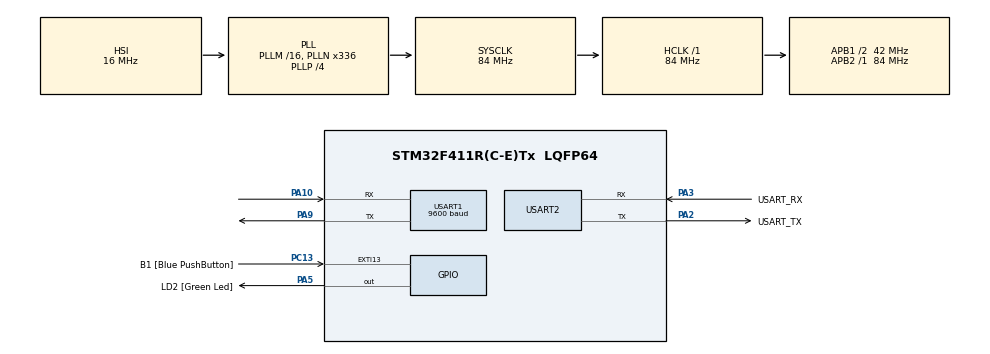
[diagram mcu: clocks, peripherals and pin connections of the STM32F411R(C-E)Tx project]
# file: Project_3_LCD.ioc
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Mcu.Family=STM32F4
Mcu.Name=STM32F411R(C-E)Tx
Mcu.Package=LQFP64
NVIC.EXTI15_10_IRQn=true\:0\:0\:false\:false\:true\:true\:true
NVIC.PriorityGroup=NVIC_PRIORITYGROUP_0
PA10.Mode=Asynchronous
PA10.Signal=USART1_RX
PA13.GPIO_Label=TMS
PA13.Mode=Serial_Wire
PA13.Signal=SYS_JTMS-SWDIO
PA14.GPIO_Label=TCK
PA14.Mode=Serial_Wire
PA14.Signal=SYS_JTCK-SWCLK
PA2.GPIO_Label=USART_TX
PA2.Mode=Asynchronous
PA2.Signal=USART2_TX
PA3.GPIO_Label=USART_RX
PA3.Mode=Asynchronous
PA3.Signal=USART2_RX
PA5.GPIO_Label=LD2 [Green Led]
PA5.Signal=GPIO_Output
PA9.Mode=Asynchronous
PA9.Signal=USART1_TX
PB3.GPIO_Label=SWO
PB3.Signal=SYS_JTDO-SWO
PC13-ANTI_TAMP.GPIO_Label=B1 [Blue PushButton]
PC13-ANTI_TAMP.GPIO_ModeDefaultEXTI=GPIO_MODE_IT_FALLING
PC13-ANTI_TAMP.Signal=GPXTI13
PC14-OSC32_IN.Mode=LSE-External-Oscillator
PC14-OSC32_IN.Signal=RCC_OSC32_IN
PC15-OSC32_OUT.Mode=LSE-External-Oscillator
PC15-OSC32_OUT.Signal=RCC_OSC32_OUT
PH0\ -\ OSC_IN.Mode=HSE-External-Clock-Source
PH0\ -\ OSC_IN.Signal=RCC_OSC_IN
PH1\ -\ OSC_OUT.Mode=HSE-External-Clock-Source
PH1\ -\ OSC_OUT.Signal=RCC_OSC_OUT
ProjectManager.HeapSize=0x200
ProjectManager.StackSize=0x400
ProjectManager.TargetToolchain=STM32CubeIDE
RCC.48MHZClocksFreq_Value=84000000
RCC.AHBFreq_Value=84000000
RCC.APB1CLKDivider=RCC_HCLK_DIV2
RCC.APB1Freq_Value=42000000
RCC.APB1TimFreq_Value=84000000
RCC.APB2Freq_Value=84000000
RCC.APB2TimFreq_Value=84000000
RCC.CortexFreq_Value=84000000
RCC.FLatency-AdvancedSettings=FLASH_LATENCY_2
RCC.HCLKFreq_Value=84000000
RCC.HSE_VALUE=8000000
RCC.HSI_VALUE=16000000
RCC.PLLN=336
RCC.PLLP=RCC_PLLP_DIV4
RCC.SYSCLKFreq_VALUE=84000000
RCC.SYSCLKSource=RCC_SYSCLKSOURCE_PLLCLK
RCC.VCOOutputFreq_Value=336000000
USART1.BaudRate=9600
USART1.VirtualMode=VM_ASYNC
USART2.VirtualMode=VM_ASYNC
board=NUCLEO-F411RE

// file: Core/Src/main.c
/* USER CODE BEGIN Header */
/**
  ******************************************************************************
  * @file           : main.c
  * @brief          : Main program body
  ******************************************************************************
  * @attention
  *
  * <h2><center>&copy; Copyright (c) 2021 STMicroelectronics.
  * All rights reserved.</center></h2>
  *
  * This software component is licensed by ST under BSD 3-Clause license,
  * the "License"; You may not use this file except in compliance with the
  * License. You may obtain a copy of the License at:
  *                        opensource.org/licenses/BSD-3-Clause
  *
  ******************************************************************************
  */
/* USER CODE END Header */
#include "main.h"

/* USER CODE BEGIN Includes */
#include "string.h"
#include "stdlib.h"
#include "stdint.h"
#include "stdio.h"
/* USER CODE END Includes */

UART_HandleTypeDef huart1;
UART_HandleTypeDef huart2;

/* USER CODE BEGIN PV */
volatile uint8_t screenState;
void screenClear(void);
/* USER CODE END PV */

void SystemClock_Config(void);
static void MX_GPIO_Init(void);
static void MX_USART2_UART_Init(void);
static void MX_USART1_UART_Init(void);

int main(void)
{

  /* MCU Configuration--------------------------------------------------------*/

  /* Reset of all peripherals, Initializes the Flash interface and the Systick. */
  HAL_Init();

  /* Configure the system clock */
  SystemClock_Config();

  /* Initialize all configured peripherals */
  MX_GPIO_Init();
  MX_USART2_UART_Init();
  MX_USART1_UART_Init();
  /* USER CODE BEGIN 2 */
	char Message[]="hello ECE2263";
	char newLine[]="\r\n";

	uint8_t clearInstruction[]={0x7C, 0x2D};

	HAL_UART_Transmit(&huart1, (uint8_t *) clearInstruction, sizeof(clearInstruction), HAL_MAX_DELAY);

	uint8_t screenSettings[]={0x7C, 0xBB};
	HAL_UART_Transmit(&huart1, (uint8_t *) screenSettings, sizeof(screenSettings), HAL_MAX_DELAY);

	uint8_t inc = 0;

  /* USER CODE END 2 */

  /* Infinite loop */
  /* USER CODE BEGIN WHILE */
  while (1)
  {
	  char print[3];
	  itoa(inc,print,10);

	  HAL_UART_Transmit(&huart1, (uint8_t *) Message, strlen(Message), HAL_MAX_DELAY);
	  HAL_Delay(500);
	  HAL_UART_Transmit(&huart1, (uint8_t *) newLine, strlen(newLine), HAL_MAX_DELAY);
	  HAL_Delay(1000);

	  inc++;
	  if((screenState == 1)|(inc == 4)){
		  screenClear();
		  screenState = 0;
		  inc = 0;
	  }
    /* USER CODE END WHILE */

  }
}

void SystemClock_Config(void)
{
  RCC_OscInitTypeDef RCC_OscInitStruct = {0};
  RCC_ClkInitTypeDef RCC_ClkInitStruct = {0};

  /** Configure the main internal regulator output voltage
  */
  __HAL_RCC_PWR_CLK_ENABLE();
  __HAL_PWR_VOLTAGESCALING_CONFIG(PWR_REGULATOR_VOLTAGE_SCALE1);
  /** Initializes the RCC Oscillators according to the specified parameters
  * in the RCC_OscInitTypeDef structure.
  */
  RCC_OscInitStruct.OscillatorType = RCC_OSCILLATORTYPE_HSI;
  RCC_OscInitStruct.HSIState = RCC_HSI_ON;
  RCC_OscInitStruct.HSICalibrationValue = RCC_HSICALIBRATION_DEFAULT;
  RCC_OscInitStruct.PLL.PLLState = RCC_PLL_ON;
  RCC_OscInitStruct.PLL.PLLSource = RCC_PLLSOURCE_HSI;
  RCC_OscInitStruct.PLL.PLLM = 16;
  RCC_OscInitStruct.PLL.PLLN = 336;
  RCC_OscInitStruct.PLL.PLLP = RCC_PLLP_DIV4;
  RCC_OscInitStruct.PLL.PLLQ = 4;
  if (HAL_RCC_OscConfig(&RCC_OscInitStruct) != HAL_OK)
  {
    Error_Handler();
  }
  /** Initializes the CPU, AHB and APB buses clocks
  */
  RCC_ClkInitStruct.ClockType = RCC_CLOCKTYPE_HCLK|RCC_CLOCKTYPE_SYSCLK
                              |RCC_CLOCKTYPE_PCLK1|RCC_CLOCKTYPE_PCLK2;
  RCC_ClkInitStruct.SYSCLKSource = RCC_SYSCLKSOURCE_PLLCLK;
  RCC_ClkInitStruct.AHBCLKDivider = RCC_SYSCLK_DIV1;
  RCC_ClkInitStruct.APB1CLKDivider = RCC_HCLK_DIV2;
  RCC_ClkInitStruct.APB2CLKDivider = RCC_HCLK_DIV1;

  if (HAL_RCC_ClockConfig(&RCC_ClkInitStruct, FLASH_LATENCY_2) != HAL_OK)
  {
    Error_Handler();
  }
}

static void MX_USART1_UART_Init(void)
{

  huart1.Instance = USART1;
  huart1.Init.BaudRate = 9600;
  huart1.Init.WordLength = UART_WORDLENGTH_8B;
  huart1.Init.StopBits = UART_STOPBITS_1;
  huart1.Init.Parity = UART_PARITY_NONE;
  huart1.Init.Mode = UART_MODE_TX_RX;
  huart1.Init.HwFlowCtl = UART_HWCONTROL_NONE;
  huart1.Init.OverSampling = UART_OVERSAMPLING_16;
  if (HAL_UART_Init(&huart1) != HAL_OK)
  {
    Error_Handler();
  }

}

static void MX_USART2_UART_Init(void)
{

  huart2.Instance = USART2;
  huart2.Init.BaudRate = 115200;
  huart2.Init.WordLength = UART_WORDLENGTH_8B;
  huart2.Init.StopBits = UART_STOPBITS_1;
  huart2.Init.Parity = UART_PARITY_NONE;
  huart2.Init.Mode = UART_MODE_TX_RX;
  huart2.Init.HwFlowCtl = UART_HWCONTROL_NONE;
  huart2.Init.OverSampling = UART_OVERSAMPLING_16;
  if (HAL_UART_Init(&huart2) != HAL_OK)
  {
    Error_Handler();
  }

}

static void MX_GPIO_Init(void)
{
  GPIO_InitTypeDef GPIO_InitStruct = {0};

  /* GPIO Ports Clock Enable */
  __HAL_RCC_GPIOC_CLK_ENABLE();
  __HAL_RCC_GPIOH_CLK_ENABLE();
  __HAL_RCC_GPIOA_CLK_ENABLE();
  __HAL_RCC_GPIOB_CLK_ENABLE();

  /*Configure GPIO pin Output Level */
  HAL_GPIO_WritePin(LD2_GPIO_Port, LD2_Pin, GPIO_PIN_RESET);

  /*Configure GPIO pin : B1_Pin */
  GPIO_InitStruct.Pin = B1_Pin;
  GPIO_InitStruct.Mode = GPIO_MODE_IT_FALLING;
  GPIO_InitStruct.Pull = GPIO_NOPULL;
  HAL_GPIO_Init(B1_GPIO_Port, &GPIO_InitStruct);

  /*Configure GPIO pin : LD2_Pin */
  GPIO_InitStruct.Pin = LD2_Pin;
  GPIO_InitStruct.Mode = GPIO_MODE_OUTPUT_PP;
  GPIO_InitStruct.Pull = GPIO_NOPULL;
  GPIO_InitStruct.Speed = GPIO_SPEED_FREQ_LOW;
  HAL_GPIO_Init(LD2_GPIO_Port, &GPIO_InitStruct);

  /* EXTI interrupt init*/
  HAL_NVIC_SetPriority(EXTI15_10_IRQn, 0, 0);
  HAL_NVIC_EnableIRQ(EXTI15_10_IRQn);

}

/* USER CODE BEGIN 4 */
void screenClear(void){
	uint8_t clearInstruction[]={0x7C, 0x2D};
	HAL_UART_Transmit(&huart1, (uint8_t *) clearInstruction, sizeof(clearInstruction), HAL_MAX_DELAY);
}
/* USER CODE END 4 */

void Error_Handler(void)
{
  __disable_irq();
  while (1)
  {
  }
}

/************************ (C) COPYRIGHT STMicroelectronics *****END OF FILE****/
